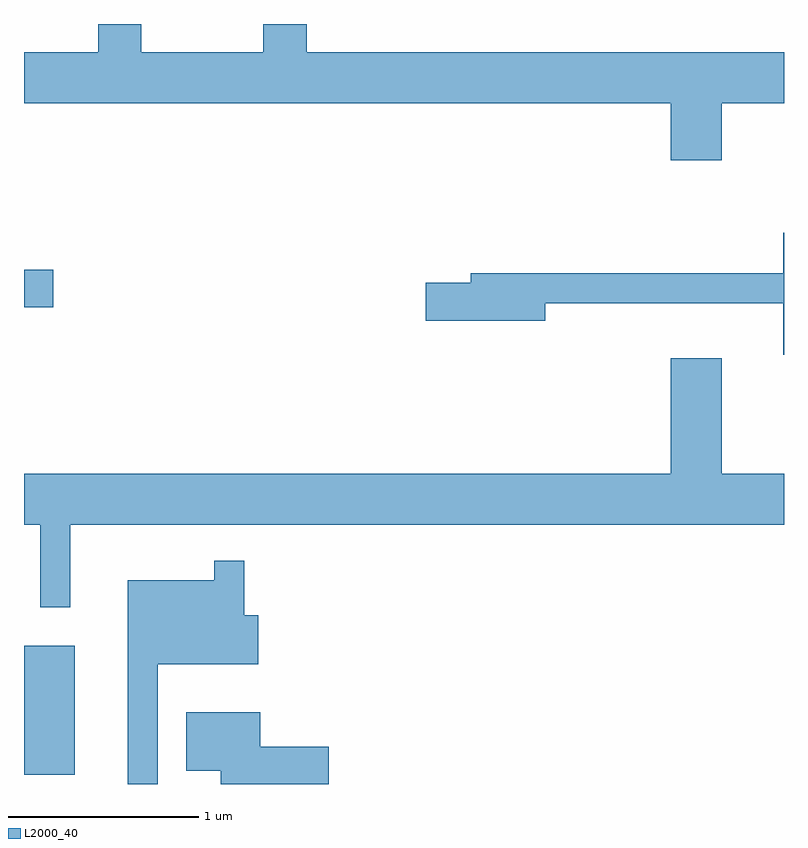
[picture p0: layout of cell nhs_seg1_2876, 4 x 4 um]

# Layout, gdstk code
import gdstk
lib = gdstk.Library(unit=1e-6, precision=1e-09)
def R(c, l, rs):  # rectangles x0, y0, x1, y1
    for r in rs: c.add(gdstk.rectangle(r[:2], r[2:], *l))
def P(c, l, *ps):  # polygons
    for p in ps: c.add(gdstk.Polygon(p, *l))
L2000_40 = (2000, 40)

nhs_seg1_2876 = lib.new_cell('nhs_seg1_2876')
R(nhs_seg1_2876, L2000_40, [(271.611,953.761,271.879,954.439), (271.611,956.221,271.764,956.419)])
P(nhs_seg1_2876, L2000_40, [(275.284,957.296),(275.611,957.296),(275.611,957.564),(273.099,957.564),(273.099,957.712),(272.871,957.712),(272.871,957.564),(272.229,957.564),(272.229,957.712),(272.001,957.712),(272.001,957.564),(271.611,957.564),(271.611,957.296),(275.016,957.296),(275.016,956.996),(275.284,956.996)],
  [(275.611,956.614),(275.606,956.614),(275.606,956.399),(273.961,956.399),(273.961,956.349),(273.726,956.349),(273.726,956.151),(274.354,956.151),(274.354,956.241),(275.606,956.241),(275.606,955.971),(275.611,955.971)],
  [(271.854,955.076),(275.611,955.076),(275.611,955.344),(275.284,955.344),(275.284,955.954),(275.016,955.954),(275.016,955.344),(271.611,955.344),(271.611,955.076),(271.696,955.076),(271.696,954.643),(271.854,954.643)],
  [(272.314,954.341),(272.844,954.341),(272.844,954.599),(272.769,954.599),(272.769,954.888),(272.611,954.888),(272.611,954.784),(272.156,954.784),(272.156,953.712),(272.314,953.712)],
  [(273.214,953.909),(272.854,953.909),(272.854,954.089),(272.466,954.089),(272.466,953.781),(272.646,953.781),(272.646,953.712),(273.214,953.712)])

lib.write_gds('nhs_seg1_2876.gds')
